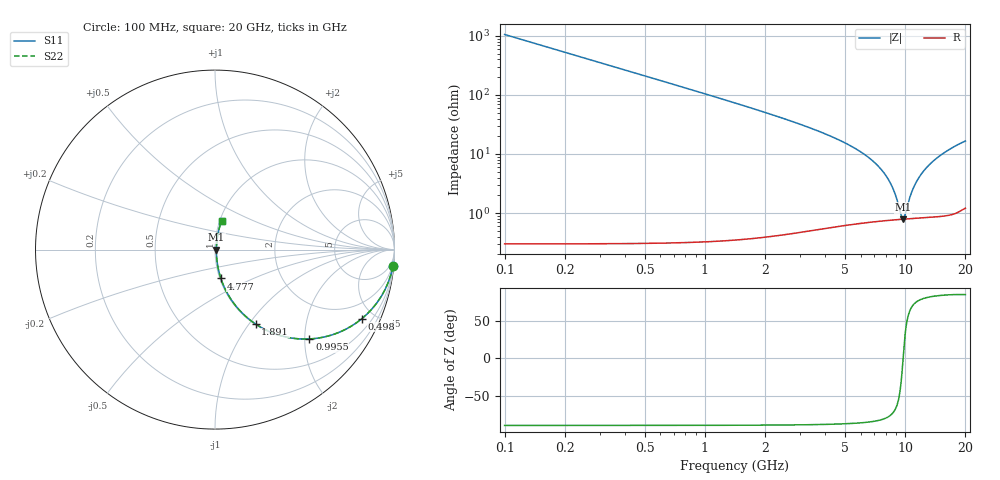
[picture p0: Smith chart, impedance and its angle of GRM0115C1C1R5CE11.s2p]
!Murata Part Number: GRM0115C1C1R5CE11
!These Parameters are Measured in Series Mode Connection
!Data Generated on Mar 30, 2021
!  o--ll--o
!Port1  Port2
!  o------o
!Operation Temp=25[degC], DC Bias Voltage=0[V]
!Freq. Start=100[MHz] Stop=20[GHz] 401[Steps]
# Hz S RI R 50
!Freq.(Hz) S11(Real) S11(Imag) S21(Real) S21(Imag) S12(Real) S12(Imag) S22(Real) S22(Imag)
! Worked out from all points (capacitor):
!   401 points, 100 MHz to 20 GHz, reference 50 ohm
!   read as one part in series: C = 1.5 pF near 199.5 MHz
!   lowest |Z| = 788 mohm at 9.752 GHz (marker M1)
!   series resonance near 9.77 GHz, so ESL is about 180 pH
!   S11 on the Smith chart (normalised r, x): 100 MHz: 1, -21; 498 MHz: 1.01, -4.25; 995.5 MHz: 1.01, -2.11; 1.891 GHz: 1.01, -1.08; 4.777 GHz: 1.01, -0.33; 20 GHz: 1.02, +0.33
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1e8  0.9912 -0.0934  0.00883 0.0934  0.00883 0.0934  0.9912 -0.0934
2.99e8  0.9261 -0.2612  0.0739 0.2612  0.0739 0.2612  0.9261 -0.2612
4.98e8  0.8183 -0.3849  0.1817 0.3849  0.1817 0.3849  0.8183 -0.3849
6.97e8  0.6958 -0.459  0.3042 0.459  0.3042 0.459  0.6958 -0.459
9.955e8  0.5261 -0.4978  0.4739 0.4978  0.4739 0.4978  0.5261 -0.4978
1.3935e9  0.3574 -0.4769  0.6426 0.4769  0.6426 0.4769  0.3574 -0.4769
1.891e9  0.2264 -0.415  0.7736 0.415  0.7736 0.415  0.2264 -0.415
3.43325e9  0.0715 -0.2484  0.9285 0.2484  0.9285 0.2484  0.0715 -0.2484
4.7765e9  0.0327 -0.1608  0.9673 0.1608  0.9673 0.1608  0.0327 -0.1608
6.7665e9  0.0133 -0.0788  0.9867 0.0788  0.9867 0.0788  0.0133 -0.0788
7.71175e9  0.00985 -0.0502  0.9902 0.0502  0.9902 0.0502  0.00985 -0.0502
8.458e9  0.00845 -0.0304  0.9916 0.0304  0.9916 0.0304  0.00845 -0.0304
9.00525e9  0.00795 -0.0172  0.9921 0.0172  0.9921 0.0172  0.00795 -0.0172
9.60225e9  0.0078 -0.00363  0.9922 0.00363  0.9922 0.00363  0.0078 -0.00363
9.7515e9  0.00781 -0.00039  0.9922 0.00039  0.9922 0.00039  0.00781 -0.00039
1.005e10  0.00791 0.00595  0.9921 -0.00595  0.9921 -0.00595  0.00791 0.00595
1.0647e10  0.00831 0.0181  0.9917 -0.0181  0.9917 -0.0181  0.00831 0.0181
1.129375e10  0.00903 0.0305  0.991 -0.0305  0.991 -0.0305  0.00903 0.0305
1.218925e10  0.0104 0.0468  0.9896 -0.0468  0.9896 -0.0468  0.0104 0.0468
1.338325e10  0.0129 0.0669  0.9871 -0.0669  0.9871 -0.0669  0.0129 0.0669
1.67165e10  0.0231 0.1167  0.9769 -0.1167  0.9769 -0.1167  0.0231 0.1167
2e10  0.0377 0.1575  0.9623 -0.1575  0.9623 -0.1575  0.0377 0.1575
